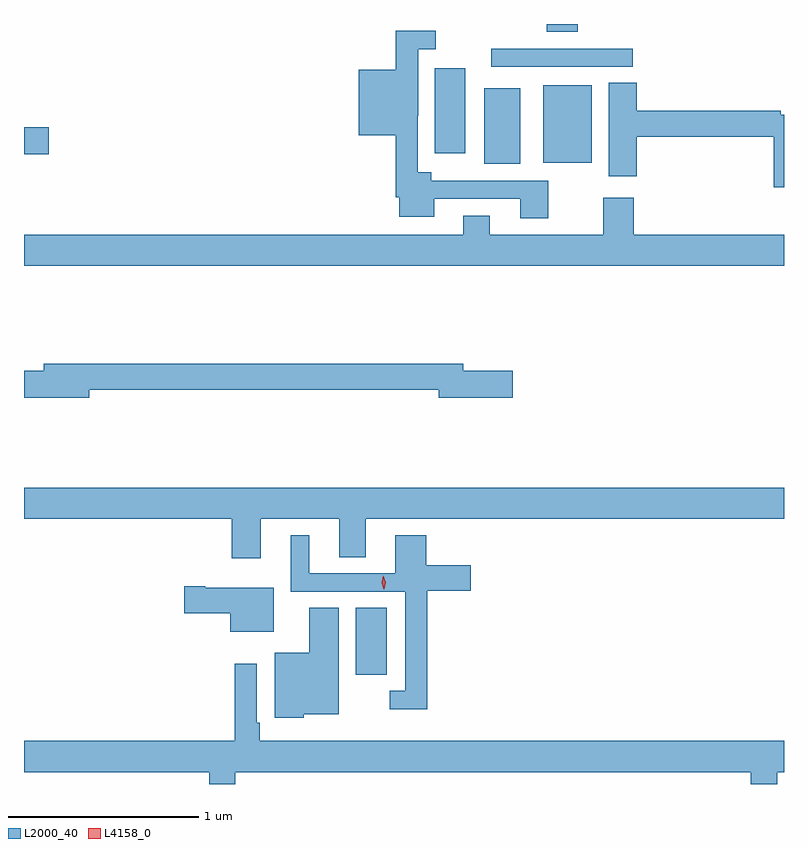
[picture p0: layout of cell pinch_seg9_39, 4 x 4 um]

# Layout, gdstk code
import gdstk
lib = gdstk.Library(unit=1e-6, precision=1e-09)
def R(c, l, rs):  # rectangles x0, y0, x1, y1
    for r in rs: c.add(gdstk.rectangle(r[:2], r[2:], *l))
def P(c, l, *ps):  # polygons
    for p in ps: c.add(gdstk.Polygon(p, *l))
L2000_40 = (2000, 40)
L4158_0 = (4158, 0)

pinch_seg9_39 = lib.new_cell('pinch_seg9_39')
R(pinch_seg9_39, L2000_40, [(912.824,1210.251,912.988,1210.604), (913.502,1212.941,913.69,1213.339), (913.811,1212.947,914.068,1213.354), (911.079,1212.991,911.209,1213.133), (913.241,1212.996,913.402,1213.444), (913.539,1213.452,914.284,1213.548), (913.829,1213.637,913.994,1213.677)])
P(pinch_seg9_39, L2000_40, [(913.839,1212.852),(913.222,1212.852),(913.222,1212.898),(913.152,1212.898),(913.152,1213.195),(913.153,1213.195),(913.153,1213.545),(913.246,1213.545),(913.246,1213.641),(913.036,1213.641),(913.036,1213.435),(912.842,1213.435),(912.842,1213.091),(913.036,1213.091),(913.036,1212.766),(913.055,1212.766),(913.055,1212.662),(913.237,1212.662),(913.237,1212.756),(913.691,1212.756),(913.691,1212.654),(913.839,1212.654)],
  [(915.079,1213.2),(915.062,1213.2),(915.062,1213.22),(914.303,1213.22),(914.303,1213.367),(914.156,1213.367),(914.156,1212.876),(914.303,1212.876),(914.303,1213.084),(915.026,1213.084),(915.026,1212.819),(915.079,1212.819)],
  [(915.079,1212.568),(914.288,1212.568),(914.288,1212.763),(914.128,1212.763),(914.128,1212.568),(913.531,1212.568),(913.531,1212.667),(913.391,1212.667),(913.391,1212.568),(911.079,1212.568),(911.079,1212.404),(915.079,1212.404)],
  [(911.422,1211.752),(913.262,1211.752),(913.262,1211.71),(913.651,1211.71),(913.651,1211.852),(913.39,1211.852),(913.39,1211.888),(911.183,1211.888),(911.183,1211.852),(911.079,1211.852),(911.079,1211.71),(911.422,1211.71)],
  [(912.325,1211.072),(912.737,1211.072),(912.737,1210.87),(912.877,1210.87),(912.877,1211.072),(915.079,1211.072),(915.079,1211.236),(911.079,1211.236),(911.079,1211.072),(912.173,1211.072),(912.173,1210.866),(912.325,1210.866)],
  [(913.202,1210.694),(913.429,1210.694),(913.429,1210.828),(913.196,1210.828),(913.196,1210.987),(913.034,1210.987),(913.034,1210.785),(912.58,1210.785),(912.58,1210.987),(912.482,1210.987),(912.482,1210.689),(913.086,1210.689),(913.086,1210.167),(913.005,1210.167),(913.005,1210.07),(913.202,1210.07)],
  [(912.394,1210.711),(912.034,1210.711),(912.034,1210.719),(911.922,1210.719),(911.922,1210.577),(912.164,1210.577),(912.164,1210.478),(912.394,1210.478)],
  [(912.552,1210.043),(912.736,1210.043),(912.736,1210.604),(912.581,1210.604),(912.581,1210.369),(912.398,1210.369),(912.398,1210.025),(912.552,1210.025)],
  [(912.191,1209.74),(914.903,1209.74),(914.903,1209.677),(915.043,1209.677),(915.043,1209.74),(915.079,1209.74),(915.079,1209.904),(912.321,1209.904),(912.321,1210),(912.303,1210),(912.303,1210.309),(912.187,1210.309),(912.187,1209.904),(911.079,1209.904),(911.079,1209.74),(912.055,1209.74),(912.055,1209.677),(912.191,1209.677)])
P(pinch_seg9_39, L4158_0, [(912.973,1210.701),(912.973,1210.702),(912.962,1210.737),(912.97,1210.773),(912.97,1210.774),(912.971,1210.773),(912.982,1210.738),(912.974,1210.702)])

lib.write_gds('pinch_seg9_39.gds')
